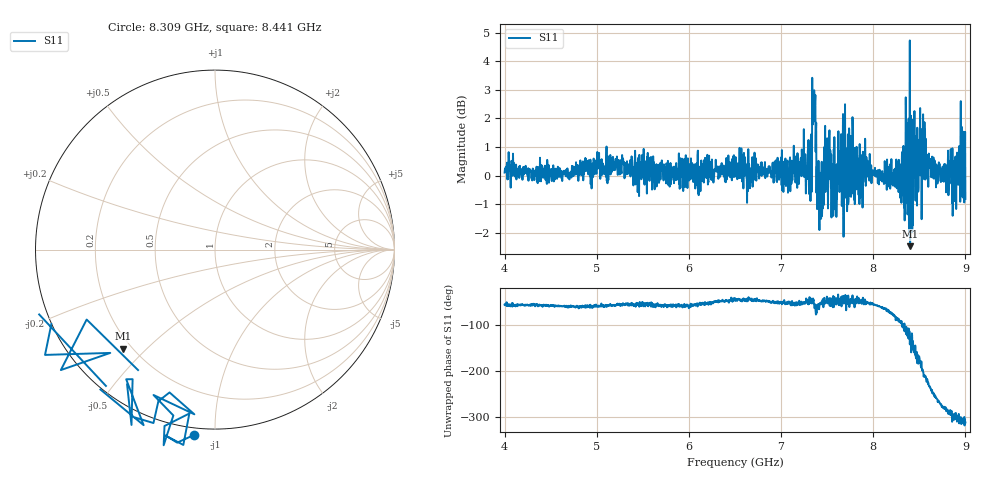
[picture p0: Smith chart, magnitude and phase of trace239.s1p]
! Created with skrf 1.8.0 (http://scikit-rf.org).
# Hz S RI R 50.0
!freq ReS11 ImS11
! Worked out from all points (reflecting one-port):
!   1601 points, 4 GHz to 9 GHz, reference 50 ohm
!   lowest |S11| = -2.5 dB at 8.4 GHz (marker M1), VSWR 7.10, Z = 8.36 - j21.3 ohm
!   phase of S11 starts at -56 deg and turns -256 deg over the sweep
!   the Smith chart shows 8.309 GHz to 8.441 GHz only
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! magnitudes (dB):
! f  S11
! 4 GHz  0.1
! 4.625 GHz  -0.2
! 5.25 GHz  0.0
! 5.875 GHz  0.0
! 6.5 GHz  0.4
! 7.125 GHz  0.2
! 7.294 GHz  -0.1
! 7.356 GHz  2.6
! 7.409 GHz  -0.8
! 7.438 GHz  -0.3
! 7.453 GHz  -1.1
! 7.5 GHz  1.3
! 7.609 GHz  0.4
! 7.669 GHz  0.9
! 7.722 GHz  -0.1
! 7.75 GHz  0.4
! 7.928 GHz  0.5
! 8.303 GHz  -0.5
! 8.319 GHz  0.8
! 8.338 GHz  -0.7
! 8.356 GHz  1.6
! 8.375 GHz  -1.2
! 8.4 GHz  -2.5
! 8.556 GHz  1.9
! 8.681 GHz  -0.4
! 8.875 GHz  0.5
! 8.956 GHz  -0.3
! 9 GHz  -0.8
